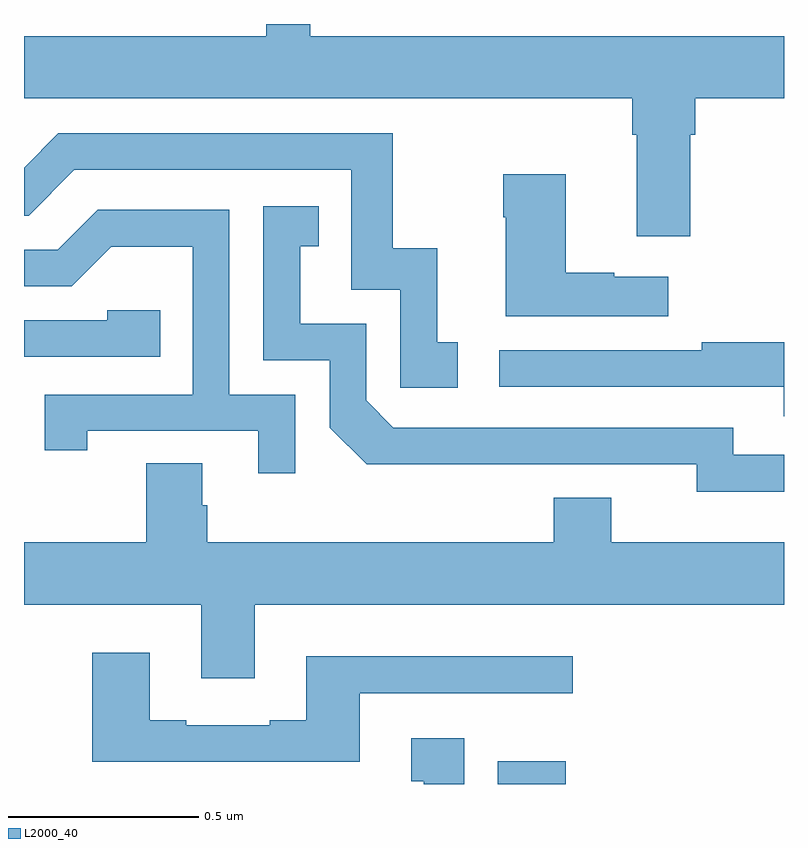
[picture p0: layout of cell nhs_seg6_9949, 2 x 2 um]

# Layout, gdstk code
import gdstk
lib = gdstk.Library(unit=1e-6, precision=1e-09)
def R(c, l, rs):  # rectangles x0, y0, x1, y1
    for r in rs: c.add(gdstk.rectangle(r[:2], r[2:], *l))
def P(c, l, *ps):  # polygons
    for p in ps: c.add(gdstk.Polygon(p, *l))
L2000_40 = (2000, 40)

nhs_seg6_9949 = lib.new_cell('nhs_seg6_9949')
R(nhs_seg6_9949, L2000_40, [(241.247,977.5,241.426,977.56)])
P(nhs_seg6_9949, L2000_40, [(241.753,979.208),(241.766,979.208),(241.766,979.304),(242,979.304),(242,979.468),(240.753,979.468),(240.753,979.5),(240.637,979.5),(240.637,979.468),(240,979.468),(240,979.304),(241.601,979.304),(241.601,979.208),(241.613,979.208),(241.613,978.942),(241.753,978.942)],
  [(241.141,978.663),(241.088,978.663),(241.088,978.91),(240.97,978.91),(240.97,979.212),(240.09,979.212),(240,979.122),(240,978.996),(240.012,978.996),(240.132,979.116),(240.861,979.116),(240.861,978.801),(240.99,978.801),(240.99,978.543),(241.141,978.543)],
  [(241.696,978.835),(241.553,978.835),(241.553,978.845),(241.426,978.845),(241.426,979.105),(241.261,979.105),(241.261,978.992),(241.268,978.992),(241.268,978.731),(241.696,978.731)],
  [(242,978.366),(241.866,978.366),(241.866,978.438),(240.972,978.438),(240.9,978.51),(240.9,978.711),(240.727,978.711),(240.727,978.915),(240.776,978.915),(240.776,979.021),(240.63,979.021),(240.63,978.615),(240.804,978.615),(240.804,978.438),(240.902,978.341),(241.31,978.341),(241.31,978.342),(241.77,978.342),(241.77,978.269),(242,978.269)],
  [(240.714,978.525),(240.54,978.525),(240.54,979.011),(240.194,979.011),(240.089,978.906),(240,978.906),(240,978.81),(240.126,978.81),(240.23,978.914),(240.444,978.914),(240.444,978.525),(240.055,978.525),(240.055,978.378),(240.166,978.378),(240.166,978.429),(240.617,978.429),(240.617,978.318),(240.714,978.318)],
  [(240.359,978.747),(240.219,978.747),(240.219,978.72),(240,978.72),(240,978.624),(240.359,978.624)],
  [(242,978.662),(241.783,978.662),(241.783,978.642),(241.251,978.642),(241.251,978.546),(241.999,978.546),(241.999,978.468),(242,978.468)],
  [(240.467,977.778),(240.607,977.778),(240.607,977.972),(242,977.972),(242,978.136),(241.546,978.136),(241.546,978.253),(241.394,978.253),(241.394,978.136),(240.482,978.136),(240.482,978.234),(240.469,978.234),(240.469,978.344),(240.322,978.344),(240.322,978.136),(240,978.136),(240,977.972),(240.467,977.972)],
  [(240.883,977.739),(241.444,977.739),(241.444,977.836),(240.743,977.836),(240.743,977.668),(240.647,977.668),(240.647,977.655),(240.427,977.655),(240.427,977.668),(240.331,977.668),(240.331,977.845),(240.179,977.845),(240.179,977.558),(240.883,977.558)],
  [(241.159,977.62),(241.019,977.62),(241.019,977.507),(241.052,977.507),(241.052,977.5),(241.159,977.5)])

lib.write_gds('nhs_seg6_9949.gds')
